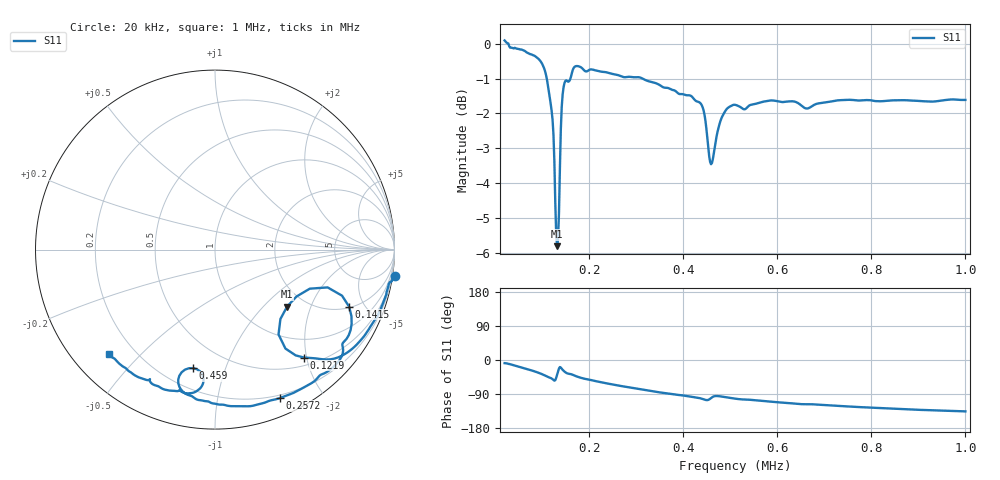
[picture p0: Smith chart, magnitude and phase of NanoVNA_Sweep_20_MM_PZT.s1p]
! NanoVNA MATLAB Controller & Analyzer Export
! Date: 29-Jul-2026 17:02:37
! Freq Range: 20.000 kHz - 1000.000 kHz (501 pts)
# Hz S RI R 50
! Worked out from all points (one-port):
!   501 points, 20 kHz to 1 MHz, reference 50 ohm
!   lowest |S11| = -5.8 dB at 131.7 kHz (marker M1), VSWR 3.10, Z = 80.4 - j69.2 ohm
!   |S11| at or under -10 dB: nowhere
!   S11 on the Smith chart (normalised r, x): 20 kHz: -1, -14; 121.9 kHz: 0.64, -1.95; 141.5 kHz: 2.06, -3.86; 257.2 kHz: 0.17, -1.52; 459 kHz: 0.32, -0.78; 1 MHz: 0.11, -0.40
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20000  1 -0.1461
59200  0.914 -0.3504
88600  0.8091 -0.5078
106240  0.6869 -0.6002
121920  0.4949 -0.6012
127800  0.3539 -0.4728
131720  0.4017 -0.3175
135640  0.528 -0.2177
141520  0.7474 -0.318
143480  0.7603 -0.3714
151320  0.7333 -0.4969
178760  0.6481 -0.6635
216000  0.5067 -0.7617
257160  0.3628 -0.8267
265000  0.3357 -0.8347
312040  0.1844 -0.8729
388480  -0.0309 -0.8488
433560  -0.1459 -0.8114
447280  -0.2041 -0.7464
459040  -0.1214 -0.6603
464920  -0.0724 -0.6922
472760  -0.0662 -0.7441
488440  -0.1074 -0.7916
510000  -0.1692 -0.7995
633480  -0.3452 -0.7511
755000  -0.4524 -0.6968
878480  -0.5366 -0.6321
1000000  -0.5933 -0.5811
